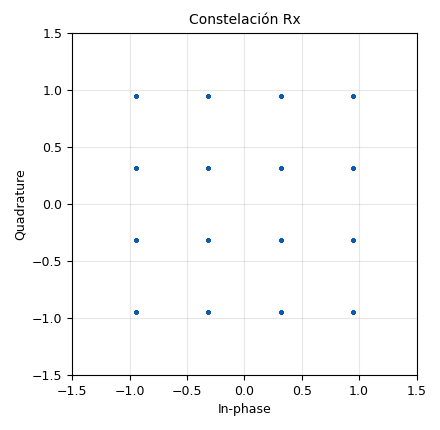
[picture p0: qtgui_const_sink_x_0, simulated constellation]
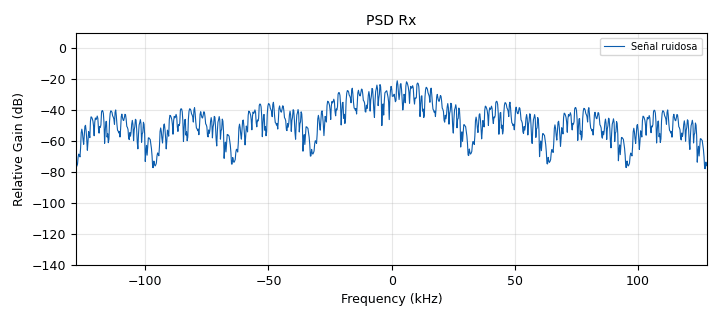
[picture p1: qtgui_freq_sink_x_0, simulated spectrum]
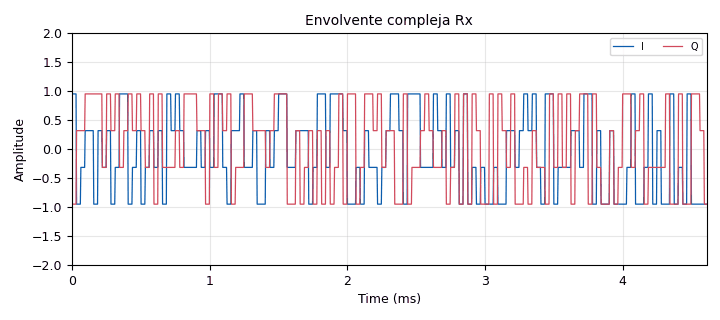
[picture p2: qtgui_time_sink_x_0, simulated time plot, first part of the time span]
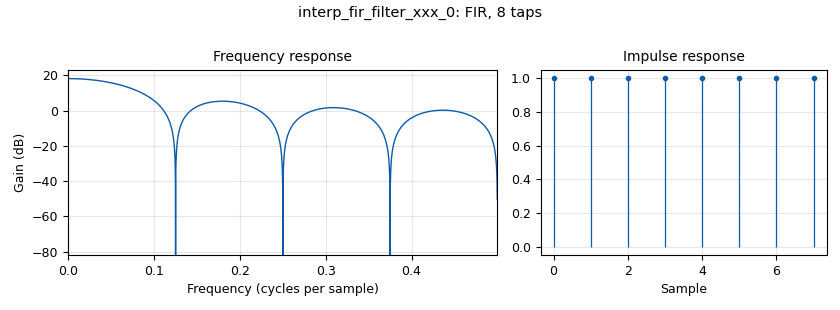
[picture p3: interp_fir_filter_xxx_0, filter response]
options:
  parameters:
    comment: GRC para analizar ruido AWGN en modulaciones basadas en constelaciones
    description: GRC con AWGN para OOK ASK BPSK QPSK 8PSK y 16QAM
    generate_options: qt_gui
    id: grupo03_s4_16qam_awgn
    output_language: python
    title: Grupo03_S4_16QAM_AWGN
  states: {}

blocks:
- name: M
  id: variable
  parameters:
    value: len(tabla_de_verdad_constelacion)
  states: {}
- name: Rb
  id: variable
  parameters:
    value: Rs*bps
  states: {}
- name: Rs
  id: variable
  parameters:
    value: '32000'
  states: {}
- name: Sps
  id: variable
  parameters:
    value: '8'
  states: {}
- name: bps
  id: variable
  parameters:
    value: int(math.log(M,2))
  states: {}
- name: h
  id: variable
  parameters:
    value: '[1]*Sps'
  states: {}
- name: noise_amp
  id: variable_qtgui_range
  parameters:
    gui_hint: 2,0,1,2
    label: Amplitud de ruido AWGN
    start: '0'
    step: '0.01'
    stop: '0.5'
    value: '0.0'
  states: {}
- name: samp_rate
  id: variable
  parameters:
    value: Rs*Sps
  states: {}
- name: tabla_de_verdad_constelacion
  id: variable
  parameters:
    comment: Cambie esta tabla para OOK ASK BPSK QPSK 8PSK o 16QAM
    value: tuple(z/math.sqrt(10.0) for z in (-3-3j,-3-1j,-3+3j,-3+1j,-1-3j,-1-1j,-1+3j,-1+1j,3-3j,3-1j,3+3j,3+1j,1-3j,1-1j,1+3j,1+1j))
  states: {}
- name: analog_noise_source_x_0
  id: analog_noise_source_x
  parameters:
    amp: noise_amp
    noise_type: analog.GR_GAUSSIAN
    seed: '0'
    type: complex
  states: {}
- name: analog_random_source_x_0
  id: analog_random_source_x
  parameters:
    max: '2'
    min: '0'
    num_samps: '1000'
    repeat: 'True'
    type: byte
  states: {}
- name: blocks_add_xx_0
  id: blocks_add_xx
  parameters:
    type: complex
  states: {}
- name: blocks_pack_k_bits_bb_0
  id: blocks_pack_k_bits_bb
  parameters:
    k: '8'
  states: {}
- name: blocks_packed_to_unpacked_xx_0
  id: blocks_packed_to_unpacked_xx
  parameters:
    bits_per_chunk: bps
    endianness: gr.GR_MSB_FIRST
    type: byte
  states: {}
- name: digital_chunks_to_symbols_xx_0
  id: digital_chunks_to_symbols_xx
  parameters:
    dimension: '1'
    in_type: byte
    out_type: complex
    symbol_table: tabla_de_verdad_constelacion
  states: {}
- name: import_0
  id: import
  parameters:
    imports: import math
  states: {}
- name: interp_fir_filter_xxx_0
  id: interp_fir_filter_xxx
  parameters:
    interp: Sps
    taps: h
    type: ccf
  states: {}
- name: qtgui_const_sink_x_0
  id: qtgui_const_sink_x
  parameters:
    grid: 'True'
    gui_hint: 1,1,1,1
    label1: '"Señal ruidosa"'
    legend: 'False'
    name: '"Constelación Rx"'
    size: '2048'
    type: complex
    xmax: '1.5'
    xmin: '-1.5'
    ymax: '1.5'
    ymin: '-1.5'
  states: {}
- name: qtgui_freq_sink_x_0
  id: qtgui_freq_sink_x
  parameters:
    bw: samp_rate
    fc: '0'
    fftsize: '1024'
    grid: 'True'
    gui_hint: 1,0,1,1
    label1: Señal ruidosa
    name: '"PSD Rx"'
    type: complex
  states: {}
- name: qtgui_time_sink_x_0
  id: qtgui_time_sink_x
  parameters:
    grid: 'True'
    gui_hint: 0,0,1,2
    label1: I
    label2: Q
    name: '"Envolvente compleja Rx"'
    size: '2048'
    srate: samp_rate
    type: complex
    ymax: '2'
    ymin: '-2'
  states: {}
- name: throttle_0
  id: blocks_throttle2
  parameters:
    samples_per_second: samp_rate
    type: complex
  states: {}

connections:
- [analog_noise_source_x_0, '0', blocks_add_xx_0, '1']
- [analog_random_source_x_0, '0', blocks_pack_k_bits_bb_0, '0']
- [blocks_add_xx_0, '0', qtgui_const_sink_x_0, '0']
- [blocks_add_xx_0, '0', qtgui_freq_sink_x_0, '0']
- [blocks_add_xx_0, '0', qtgui_time_sink_x_0, '0']
- [blocks_pack_k_bits_bb_0, '0', blocks_packed_to_unpacked_xx_0, '0']
- [blocks_packed_to_unpacked_xx_0, '0', digital_chunks_to_symbols_xx_0, '0']
- [digital_chunks_to_symbols_xx_0, '0', interp_fir_filter_xxx_0, '0']
- [interp_fir_filter_xxx_0, '0', throttle_0, '0']
- [throttle_0, '0', blocks_add_xx_0, '0']

metadata:
  file_format: 1
  grc_version: 3.10.12.0
